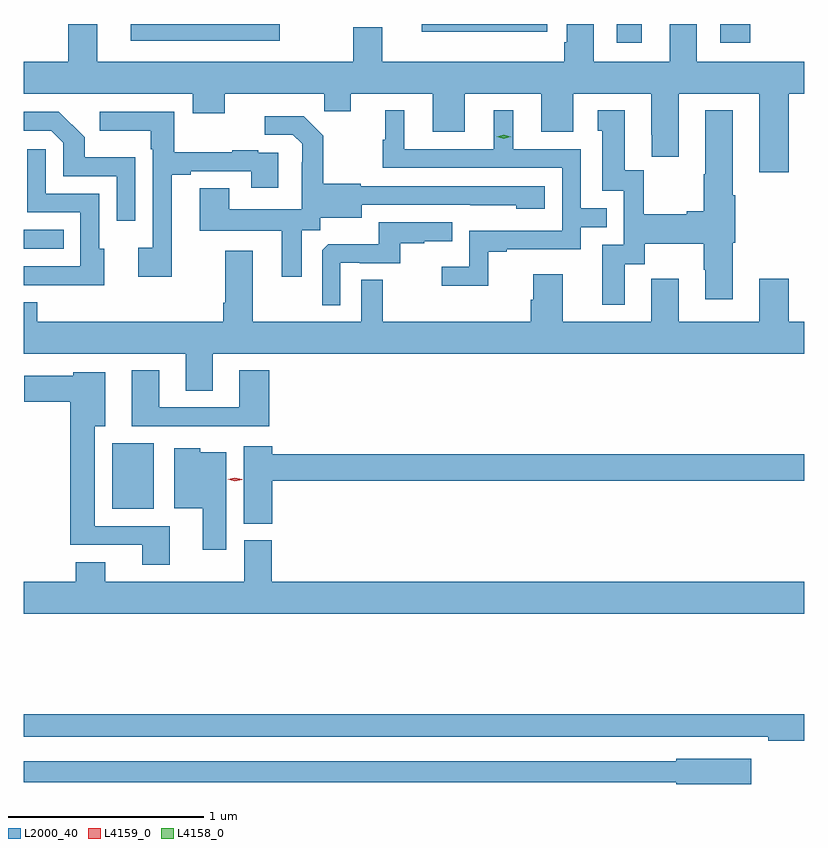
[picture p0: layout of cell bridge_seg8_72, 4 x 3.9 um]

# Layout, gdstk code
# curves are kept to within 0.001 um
import gdstk
lib = gdstk.Library(unit=1e-6, precision=1e-09)
def R(c, l, rs):  # rectangles x0, y0, x1, y1
    for r in rs: c.add(gdstk.rectangle(r[:2], r[2:], *l))
def P(c, l, *ps):  # polygons
    for p in ps: c.add(gdstk.Polygon(p, *l))
L2000_40 = (2000, 40)
L4158_0 = (4158, 0)
L4159_0 = (4159, 0)

bridge_seg8_72 = lib.new_cell('bridge_seg8_72')
R(bridge_seg8_72, L2000_40, [(914.15,1106.381,914.362,1106.716), (913.696,1107.714,913.901,1107.81), (916.736,1108.77,916.864,1108.866), (917.267,1108.77,917.42,1108.866), (914.244,1108.779,915.007,1108.866), (915.737,1108.826,916.378,1108.866)])
P(bridge_seg8_72, L2000_40, [(917.618,1108.508),(917.696,1108.508),(917.696,1108.672),(917.146,1108.672),(917.146,1108.866),(917.006,1108.866),(917.006,1108.672),(916.618,1108.672),(916.618,1108.866),(916.478,1108.866),(916.478,1108.773),(916.466,1108.773),(916.466,1108.672),(915.532,1108.672),(915.532,1108.85),(915.385,1108.85),(915.385,1108.672),(914.071,1108.672),(914.071,1108.866),(913.924,1108.866),(913.924,1108.672),(913.696,1108.672),(913.696,1108.508),(914.561,1108.508),(914.561,1108.409),(914.725,1108.409),(914.725,1108.508),(915.235,1108.508),(915.235,1108.418),(915.373,1108.418),(915.373,1108.508),(915.791,1108.508),(915.791,1108.314),(915.955,1108.314),(915.955,1108.508),(916.349,1108.508),(916.349,1108.314),(916.513,1108.314),(916.513,1108.508),(916.913,1108.508),(916.913,1108.297),(916.916,1108.297),(916.916,1108.185),(917.053,1108.185),(917.053,1108.508),(917.465,1108.508),(917.465,1108.107),(917.618,1108.107)],
  [(916.777,1107.634),(916.879,1107.634),(916.879,1107.74),(917.182,1107.74),(917.182,1107.606),(917.189,1107.606),(917.189,1107.456),(917.329,1107.456),(917.329,1107.744),(917.342,1107.744),(917.342,1107.988),(917.329,1107.988),(917.329,1108.423),(917.189,1108.423),(917.189,1108.097),(917.182,1108.097),(917.182,1107.905),(917.093,1107.905),(917.093,1107.892),(916.875,1107.892),(916.875,1108.115),(916.777,1108.115),(916.777,1108.423),(916.637,1108.423),(916.637,1108.32),(916.661,1108.32),(916.661,1108.011),(916.77,1108.011),(916.77,1107.735),(916.661,1107.735),(916.661,1107.426),(916.777,1107.426)],
  [(916.077,1107.699),(916.171,1107.699),(916.171,1107.711),(916.551,1107.711),(916.551,1107.825),(916.685,1107.825),(916.685,1107.921),(916.551,1107.921),(916.551,1108.224),(916.204,1108.224),(916.204,1108.423),(916.106,1108.423),(916.106,1108.224),(915.646,1108.224),(915.646,1108.423),(915.548,1108.423),(915.548,1108.272),(915.537,1108.272),(915.537,1108.128),(916.455,1108.128),(916.455,1107.807),(915.978,1107.807),(915.978,1107.622),(915.837,1107.622),(915.837,1107.524),(916.077,1107.524)],
  [(914.268,1108.183),(914.007,1108.183),(914.007,1108.286),(913.876,1108.416),(913.696,1108.416),(913.696,1108.32),(913.836,1108.32),(913.899,1108.257),(913.899,1108.086),(914.172,1108.086),(914.172,1107.858),(914.268,1107.858)],
  [(914.455,1108.092),(914.551,1108.092),(914.551,1108.11),(914.861,1108.11),(914.861,1108.026),(915.001,1108.026),(915.001,1108.206),(914.897,1108.206),(914.897,1108.219),(914.765,1108.219),(914.765,1108.208),(914.467,1108.208),(914.467,1108.416),(914.085,1108.416),(914.085,1108.319),(914.346,1108.319),(914.346,1108.223),(914.358,1108.223),(914.358,1107.718),(914.283,1107.718),(914.283,1107.57),(914.455,1107.57)],
  [(915.121,1107.808),(915.216,1107.808),(915.216,1107.872),(915.427,1107.872),(915.427,1107.939),(916.221,1107.938),(916.221,1107.92),(916.366,1107.92),(916.366,1108.035),(915.423,1108.035),(915.423,1108.048),(915.231,1108.048),(915.231,1108.293),(915.131,1108.393),(914.931,1108.393),(914.931,1108.299),(915.075,1108.299),(915.122,1108.252),(915.122,1108.157),(915.12,1108.157),(915.12,1107.916),(914.749,1107.916),(914.749,1108.025),(914.597,1108.025),(914.597,1107.806),(915.017,1107.806),(915.017,1107.57),(915.121,1107.57)],
  [(914.107,1107.714),(914.082,1107.714),(914.082,1107.996),(913.809,1107.996),(913.809,1108.225),(913.713,1108.225),(913.713,1107.9),(913.986,1107.9),(913.986,1107.624),(913.696,1107.624),(913.696,1107.528),(913.889,1107.528),(913.889,1107.527),(914.107,1107.527)],
  [(915.318,1107.642),(915.418,1107.642),(915.418,1107.639),(915.626,1107.639),(915.626,1107.741),(915.749,1107.741),(915.749,1107.752),(915.893,1107.752),(915.893,1107.849),(915.516,1107.849),(915.516,1107.737),(915.257,1107.737),(915.225,1107.705),(915.225,1107.425),(915.318,1107.425)],
  [(914.665,1107.176),(917.696,1107.176),(917.696,1107.34),(917.618,1107.34),(917.618,1107.559),(917.465,1107.559),(917.465,1107.34),(917.053,1107.34),(917.053,1107.559),(916.913,1107.559),(916.913,1107.34),(916.459,1107.34),(916.459,1107.583),(916.307,1107.583),(916.307,1107.453),(916.295,1107.453),(916.295,1107.34),(915.535,1107.34),(915.535,1107.554),(915.426,1107.554),(915.426,1107.34),(914.869,1107.34),(914.869,1107.703),(914.729,1107.703),(914.729,1107.436),(914.717,1107.436),(914.717,1107.34),(913.765,1107.34),(913.765,1107.439),(913.696,1107.439),(913.696,1107.176),(914.525,1107.176),(914.525,1106.986),(914.665,1106.986)],
  [(914.954,1107.091),(914.801,1107.091),(914.801,1106.901),(914.389,1106.901),(914.389,1107.091),(914.249,1107.091),(914.249,1106.805),(914.954,1106.805)],
  [(914.443,1106.292),(914.059,1106.292),(914.059,1106.804),(914.113,1106.804),(914.113,1107.082),(913.95,1107.082),(913.95,1107.064),(913.698,1107.064),(913.698,1106.93),(913.934,1106.93),(913.934,1106.196),(914.303,1106.196),(914.303,1106.094),(914.443,1106.094)],
  [(914.969,1106.524),(917.696,1106.524),(917.696,1106.66),(914.969,1106.66),(914.969,1106.701),(914.822,1106.701),(914.822,1106.305),(914.969,1106.305)],
  [(914.734,1106.671),(914.601,1106.671),(914.601,1106.692),(914.468,1106.692),(914.468,1106.384),(914.612,1106.384),(914.612,1106.172),(914.734,1106.172)],
  [(917.696,1106.008),(914.966,1106.008),(914.966,1106.22),(914.825,1106.22),(914.825,1106.008),(914.113,1106.008),(914.113,1106.107),(913.961,1106.107),(913.961,1106.008),(913.696,1106.008),(913.696,1105.844),(917.696,1105.844)],
  [(917.696,1105.328),(913.696,1105.328),(913.696,1105.212),(917.512,1105.212),(917.512,1105.192),(917.696,1105.192)],
  [(917.425,1105.099),(917.04,1105.099),(917.04,1105.086),(913.696,1105.086),(913.696,1104.978),(917.04,1104.978),(917.04,1104.97),(917.425,1104.97)])
P(bridge_seg8_72, L4158_0, [(916.155,1108.278),(916.119,1108.287),(916.119,1108.288),(916.119,1108.288),(916.155,1108.298),(916.191,1108.288),(916.191,1108.288),(916.191,1108.287)])
P(bridge_seg8_72, L4159_0, [(914.778,1106.521),(914.74,1106.532),(914.74,1106.532),(914.74,1106.532),(914.778,1106.541),(914.816,1106.531),(914.816,1106.53),(914.816,1106.53)])

lib.write_gds('bridge_seg8_72.gds')
